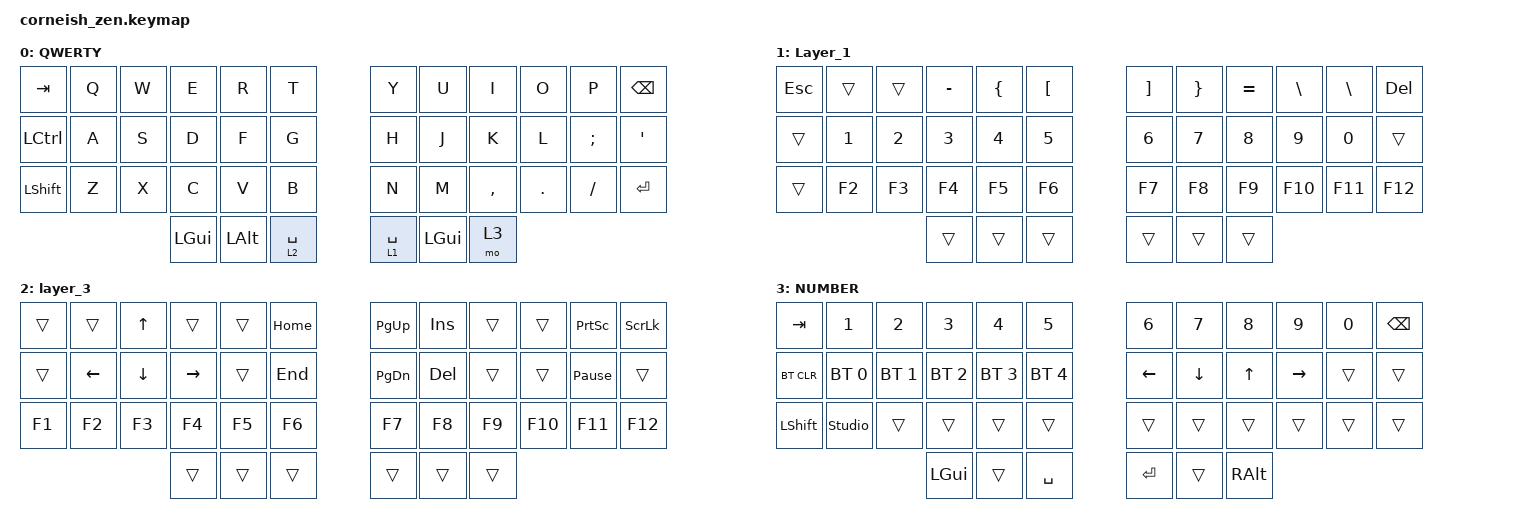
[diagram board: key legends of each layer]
/*
*
* Copyright (c) 2021 Darryl deHaan
* SPDX-License-Identifier: MIT
*
*/

#include <behaviors.dtsi>
#include <dt-bindings/zmk/bt.h>
#include <dt-bindings/zmk/keys.h>

/ {
    chosen {
        zmk,physical-layout = &foostan_corne_6col_layout;

        // zmk,physical-layout = &foostan_corne_5col_layout;
    };
};

/ {
    keymap {
        compatible = "zmk,keymap";

        default_layer {
            display-name = "QWERTY";

            // --------------------------------------------------------------------------------
            // |  TAB |  Q  |  W  |  E  |  R  |  T  |   |  Y  |  U   |  I  |  O  |  P  | BSPC |
            // | CTRL |  A  |  S  |  D  |  F  |  G  |   |  H  |  J   |  K  |  L  |  ;  |  '   |
            // | SHFT |  Z  |  X  |  C  |  V  |  B  |   |  N  |  M   |  ,  |  .  |  /  | ESC  |
            //                    | GUI | LWR | Ent |   | SPC | RSE  | ALT |

            bindings = <
&kp TAB    &kp Q  &kp W  &kp E     &kp R         &kp T          &kp Y        &kp U         &kp I      &kp O    &kp P     &kp BSPC
&kp LCTRL  &kp A  &kp S  &kp D     &kp F         &kp G          &kp H        &kp J         &kp K      &kp L    &kp SEMI  &kp SQT
&kp LSHFT  &kp Z  &kp X  &kp C     &kp V         &kp B          &kp N        &kp M         &kp COMMA  &kp DOT  &kp FSLH  &kp ENTER
                         &kp LGUI  &kp LEFT_ALT  &lt 2 SPACE    &lt 1 SPACE  &kp LEFT_GUI  &mo 3
            >;
        };

        Layer_1 {
            bindings = <
&kp ESC  &trans  &trans  &kp MINUS  &kp LEFT_BRACE  &kp LEFT_BRACKET    &kp RIGHT_BRACKET  &kp RIGHT_BRACE  &kp EQUAL  &kp BACKSLASH  &kp BACKSLASH  &kp DELETE
&trans   &kp N1  &kp N2  &kp N3     &kp N4          &kp N5              &kp N6             &kp N7           &kp N8     &kp N9         &kp N0         &trans
&trans   &kp F2  &kp F3  &kp F4     &kp F5          &kp F6              &kp F7             &kp F8           &kp F9     &kp F10        &kp F11        &kp F12
                         &trans     &trans          &trans              &trans             &trans           &trans
            >;
        };

        layer_3 {
            bindings = <
&trans  &trans    &kp UP    &trans     &trans  &kp HOME    &kp PG_UP  &kp INSERT  &trans  &trans   &kp PRINTSCREEN  &kp SCROLLLOCK
&trans  &kp LEFT  &kp DOWN  &kp RIGHT  &trans  &kp END     &kp PG_DN  &kp DELETE  &trans  &trans   &kp PAUSE_BREAK  &trans
&kp F1  &kp F2    &kp F3    &kp F4     &kp F5  &kp F6      &kp F7     &kp F8      &kp F9  &kp F10  &kp F11          &kp F12
                            &trans     &trans  &trans      &trans     &trans      &trans
            >;
        };

        config {
            display-name = "NUMBER";

            // -----------------------------------------------------------------------------------------
            // |  TAB |  1  |  2  |  3  |  4  |  5  |   |  6  |  7  |  8  |  9  |  0  | BSPC |
            // | BTCLR| BT1 | BT2 | BT3 | BT4 | BT5 |   | LFT | DWN |  UP | RGT |     |      |
            // | SHFT |     |     |     |     |     |   |     |     |     |     |     |      |
            //                    | GUI |     | SPC |   | ENT |     | ALT |

            bindings = <
&kp TAB     &kp N1          &kp N2        &kp N3        &kp N4        &kp N5          &kp N6    &kp N7    &kp N8    &kp N9     &kp N0  &kp BSPC
&bt BT_CLR  &bt BT_SEL 0    &bt BT_SEL 1  &bt BT_SEL 2  &bt BT_SEL 3  &bt BT_SEL 4    &kp LEFT  &kp DOWN  &kp UP    &kp RIGHT  &trans  &trans
&kp LSHFT   &studio_unlock  &trans        &trans        &trans        &trans          &trans    &trans    &trans    &trans     &trans  &trans
                                          &kp LGUI      &trans        &kp SPACE       &kp RET   &trans    &kp RALT
            >;
        };
    };
};
